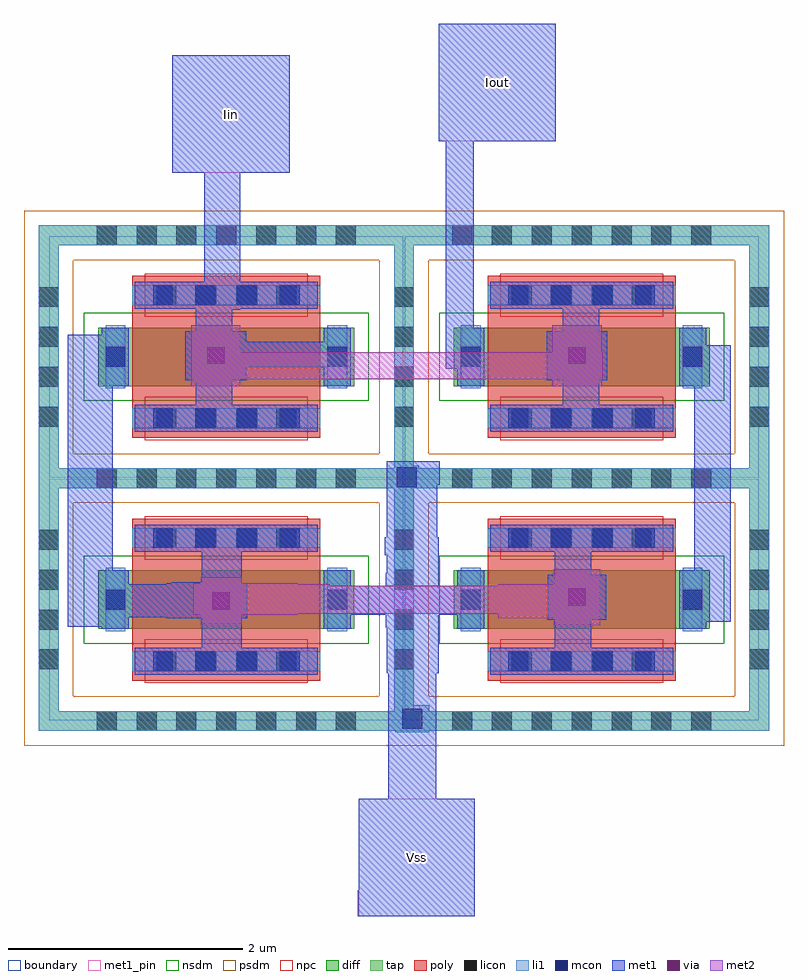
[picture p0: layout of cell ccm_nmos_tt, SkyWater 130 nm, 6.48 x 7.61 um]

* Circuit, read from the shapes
.subckt ccm_nmos_tt Iin Iout Vss
XM1 Vss n1 n1 Vss sky130_fd_pr__nfet_01v8 w=0.5 l=1.6
XM2 Iin Iin n1 Vss sky130_fd_pr__nfet_01v8 w=0.5 l=1.6
XM3 n2 n1 Vss Vss sky130_fd_pr__nfet_01v8 w=0.5 l=1.6
XM4 n2 Iin Iout Vss sky130_fd_pr__nfet_01v8 w=0.5 l=1.6
.ends

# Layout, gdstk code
import gdstk
lib = gdstk.Library(unit=1e-6, precision=1e-09)
def R(c, l, rs):  # rectangles x0, y0, x1, y1
    for r in rs: c.add(gdstk.rectangle(r[:2], r[2:], *l))
def A(c, l, x, y, w, h, nx, ny, dx, dy):  # array of equal rectangles
    R(c, l, [(x+i*dx, y+j*dy, x+i*dx+w, y+j*dy+h) for i in range(nx) for j in range(ny)])
diff = (65, 20)
tap = (65, 44)
poly = (66, 20)
licon = (66, 44)
li1 = (67, 20)
mcon = (67, 44)
met1_pin = (68, 16)
met1 = (68, 20)
via = (68, 44)
met2 = (69, 20)
nsdm = (93, 44)
psdm = (94, 20)
npc = (95, 20)
boundary = (235, 4)

sky130_fd_pr__nfet_01v8_ = lib.new_cell('sky130_fd_pr__nfet_01v8_FEQNLY')
R(sky130_fd_pr__nfet_01v8_, diff, [(-1.09,-0.25,1.09,0.25)])
R(sky130_fd_pr__nfet_01v8_, tap, [(-1.6,-1.12,1.6,-0.95), (-1.6,-0.95,-1.43,0.95), (1.43,-0.95,1.6,0.95), (-1.6,0.95,1.6,1.12)])
R(sky130_fd_pr__nfet_01v8_, poly, [(-0.8,-0.69,0.8,0.69)])
A(sky130_fd_pr__nfet_01v8_, licon, -1.105, -1.12, 0.17, 0.17, 7, 2, 0.34, 2.07)
A(sky130_fd_pr__nfet_01v8_, licon, -0.595, -0.61, 0.17, 0.17, 4, 2, 0.34, 1.05)
A(sky130_fd_pr__nfet_01v8_, licon, -1.6, -0.595, 0.17, 0.17, 1, 4, 0, 0.34)
A(sky130_fd_pr__nfet_01v8_, licon, 1.43, -0.595, 0.17, 0.17, 1, 4, 0, 0.34)
R(sky130_fd_pr__nfet_01v8_, licon, [(-1.03,-0.085,-0.86,0.085), (0.86,-0.085,1.03,0.085)])
R(sky130_fd_pr__nfet_01v8_, li1, [(-1.6,-1.12,1.6,-0.95), (-1.6,-0.95,-1.43,0.95), (1.43,-0.95,1.6,0.95), (-0.8,-0.61,0.8,-0.44), (-1.03,-0.27,-0.86,0.27), (0.86,-0.27,1.03,0.27), (-0.8,0.44,0.8,0.61), (-1.6,0.95,1.6,1.12)])
A(sky130_fd_pr__nfet_01v8_, mcon, -0.625, -0.61, 0.17, 0.17, 4, 2, 0.36, 1.05)
R(sky130_fd_pr__nfet_01v8_, mcon, [(-1.03,-0.085,-0.86,0.085), (0.86,-0.085,1.03,0.085)])
R(sky130_fd_pr__nfet_01v8_, met1, [(-0.78,-0.64,0.78,-0.41), (-1.06,-0.25,-0.83,0.25), (0.83,-0.25,1.06,0.25), (-0.78,0.41,0.78,0.64)])
R(sky130_fd_pr__nfet_01v8_, nsdm, [(-1.215,-0.375,1.215,0.375)])
R(sky130_fd_pr__nfet_01v8_, psdm, [(-1.725,-1.245,1.725,-0.825), (-1.725,-0.825,-1.305,0.825), (1.305,-0.825,1.725,0.825), (-1.725,0.825,1.725,1.245)])
R(sky130_fd_pr__nfet_01v8_, npc, [(-0.695,-0.71,0.695,-0.34), (-0.695,0.34,0.695,0.71)])
R(sky130_fd_pr__nfet_01v8_, boundary, [(-1.51,-1.03,1.51,1.03)])

ccm_nmos_tt = lib.new_cell('ccm_nmos_tt')
R(ccm_nmos_tt, li1, [(6.02,0.6,6.31,0.83), (6.02,2.68,6.22,2.87)])
R(ccm_nmos_tt, mcon, [(6.08,0.63,6.25,0.8), (6.035,2.69,6.205,2.86)])
R(ccm_nmos_tt, met1_pin, [(5.71,-0.97,6.7,0.03), (4.12,5.37,5.12,6.37), (6.39,5.64,7.39,6.64)])
R(ccm_nmos_tt, met1, [(5.7,-0.97,6.7,-0.75), (5.71,-0.75,6.7,0.03), (5.96,0.03,6.37,1.1), (5.95,1.1,6.39,1.49), (7.38,1.18,7.69,1.56), (4.38,1.22,4.69,1.31), (4.37,1.31,4.71,1.57), (5.94,1.49,6.39,1.6), (3.23,1.5,3.61,1.58), (8.57,1.54,8.88,3.9), (7.32,1.56,7.82,1.94), (4.07,1.57,4.76,1.58), (3.23,1.58,4.76,1.86), (5.51,1.6,6.77,1.85), (5.94,1.85,6.39,1.96), (3.23,1.86,3.61,3.99), (4.07,1.86,4.76,1.87), (4.11,1.87,4.71,1.88), (4.37,1.88,4.71,2.22), (7.38,1.94,7.69,2.25), (5.95,1.96,6.39,2.11), (5.93,2.11,6.39,2.26), (4.38,2.22,4.69,2.29), (5.95,2.26,6.38,2.71), (5.95,2.71,6.4,2.91), (4.32,3.25,4.63,3.6), (7.45,3.26,7.76,3.6), (4.23,3.6,4.75,3.71), (7.31,3.6,7.83,4.02), (6.45,3.7,6.69,5.64), (4.23,3.71,5.57,3.93), (4.23,3.93,4.75,4.02), (4.32,4.02,4.63,4.2), (7.45,4.02,7.76,4.33), (4.32,4.2,4.7,4.32), (4.39,4.32,4.7,5.37), (4.12,5.37,5.12,6.37), (6.39,5.64,7.39,6.64)])
R(ccm_nmos_tt, via, [(4.46,1.645,4.61,1.795), (7.495,1.675,7.645,1.825), (4.415,3.735,4.565,3.885), (7.495,3.735,7.645,3.885)])
R(ccm_nmos_tt, met2, [(7.37,1.51,7.77,1.57), (4.36,1.52,4.71,1.6), (6.9,1.57,7.77,1.61), (4.3,1.6,5.19,1.61), (4.3,1.61,7.77,1.85), (4.3,1.85,5.46,1.86), (6.9,1.85,7.77,1.86), (4.3,1.86,5.19,1.87), (7.37,1.86,7.77,1.99), (4.36,1.87,4.71,1.92), (4.28,3.55,4.7,3.61), (7.36,3.55,7.78,3.61), (4.28,3.61,7.79,3.84), (4.28,3.84,4.7,4.07), (7.36,3.84,7.78,4.07)])
ccm_nmos_tt.add(gdstk.Reference(sky130_fd_pr__nfet_01v8_, (7.61,1.73)))
ccm_nmos_tt.add(gdstk.Reference(sky130_fd_pr__nfet_01v8_, (4.58,1.73)))
ccm_nmos_tt.add(gdstk.Reference(sky130_fd_pr__nfet_01v8_, (7.61,3.8)))
ccm_nmos_tt.add(gdstk.Reference(sky130_fd_pr__nfet_01v8_, (4.58,3.8)))
ccm_nmos_tt.add(gdstk.Label('Iin', (4.62,5.87), layer=68, texttype=5))
ccm_nmos_tt.add(gdstk.Label('Iout', (6.89,6.14), layer=68, texttype=5))
ccm_nmos_tt.add(gdstk.Label('Vss', (6.205,-0.47), layer=68, texttype=5))

lib.write_gds('ccm_nmos_tt.gds')
